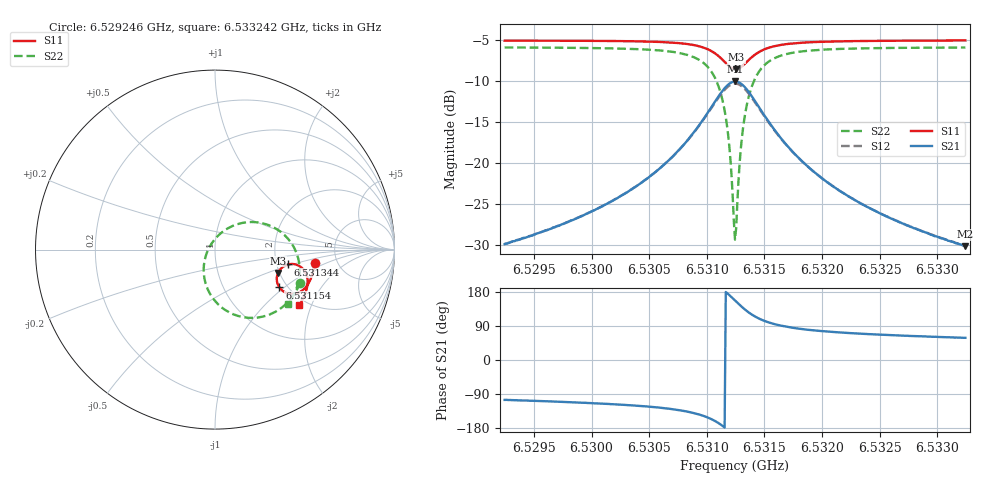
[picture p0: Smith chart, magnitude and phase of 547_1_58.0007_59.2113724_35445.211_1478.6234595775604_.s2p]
#  HZ  S  RI  R  50.00
! Rohde & Schwarz Vector Network Analyzer
! Rohde-Schwarz,ZNB20-2Port,1311601062101988,3.16
! Created: UTC 3/21/2024, 1:14:50 AM
! freq[Hz]  re:S11  im:S11  re:S21  im:S21  re:S12  im:S12  re:S22  im:S22
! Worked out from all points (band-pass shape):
!   401 points, 6.529246 GHz to 6.533242 GHz, reference 50 ohm
!   highest |S21| = -10.01 dB at 6.531244 GHz (marker M1); lowest = -30.2 dB at 6.533242 GHz (marker M2)
!   |S21| within 3 dB of the highest: 6.531046 GHz to 6.531446 GHz (399.2 kHz wide, 0.00611 % of centre)
!   lowest |S11| = -8.5 dB at 6.531254 GHz (marker M3), VSWR 2.20, Z = 98.2 - j29.7 ohm
!   |S11| at or under -10 dB: nowhere
!   |S22| runs from -29.4 to -5.9 dB; largest |S21 - S12| = 0.012
!   S11 on the Smith chart (normalised r, x): 6.529246 GHz: 3.37, -0.75; 6.531154 GHz: 1.82, -0.93; 6.531344 GHz: 2.30, -0.46; 6.533242 GHz: 1.82, -1.64
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6.5292464e9  0.5555 -0.0764  -0.00842 -0.0308  -0.00896 -0.0307  0.4754 -0.1835
6.5299157e9  0.5438 -0.1322  -0.0182 -0.0437  -0.0193 -0.0434  0.4428 -0.2455
6.5302953e9  0.5311 -0.1678  -0.0315 -0.0574  -0.0328 -0.0568  0.4082 -0.2898
6.5305851e9  0.5138 -0.1994  -0.0534 -0.0748  -0.0556 -0.0732  0.3585 -0.3327
6.5308148e9  0.4854 -0.2286  -0.0946 -0.0938  -0.0973 -0.0905  0.2758 -0.3711
6.5309846e9  0.4402 -0.2468  -0.1646 -0.099  -0.1669 -0.0921  0.1474 -0.3745
6.5310845e9  0.3943 -0.24  -0.2354 -0.0705  -0.2342 -0.0607  0.029 -0.3152
6.5311545e9  0.359 -0.2107  -0.287 -0.00944  -0.2804 0.000477  -0.0473 -0.2041
6.5311944e9  0.3462 -0.1816  -0.3023 0.0452  -0.2927 0.053  -0.0633 -0.1113
6.5312244e9  0.3445 -0.1557  -0.3002 0.0915  -0.289 0.0969  -0.0516 -0.0355
6.5312344e9  0.3459 -0.1468  -0.2963 0.1072  -0.2848 0.1114  -0.0428 -0.0109
6.5312444e9  0.3481 -0.1382  -0.291 0.1223  -0.2794 0.1255  -0.0315 0.013
6.5312544e9  0.3512 -0.13  -0.2842 0.137  -0.2727 0.1391  -0.0178 0.0356
6.5313043e9  0.3781 -0.0963  -0.2324 0.1946  -0.223 0.1927  0.0761 0.1211
6.5313443e9  0.4064 -0.0827  -0.1816 0.2176  -0.1748 0.2139  0.1633 0.1506
6.5314142e9  0.451 -0.0833  -0.1038 0.2182  -0.1004 0.2147  0.2933 0.1383
6.5315141e9  0.4895 -0.1067  -0.0377 0.185  -0.0362 0.1829  0.4002 0.0678
6.531664e9  0.5112 -0.1438  0.00176 0.136  0.00286 0.1353  0.4582 -0.0305
6.5319137e9  0.516 -0.1879  0.0178 0.0885  0.0188 0.0882  0.4717 -0.1296
6.5322234e9  0.509 -0.2253  0.0202 0.0595  0.0211 0.0594  0.4605 -0.197
6.532583e9  0.4969 -0.2582  0.019 0.0423  0.0198 0.042  0.4421 -0.2457
6.5332424e9  0.4707 -0.3079  0.0162 0.0265  0.0169 0.0263  0.4075 -0.305
